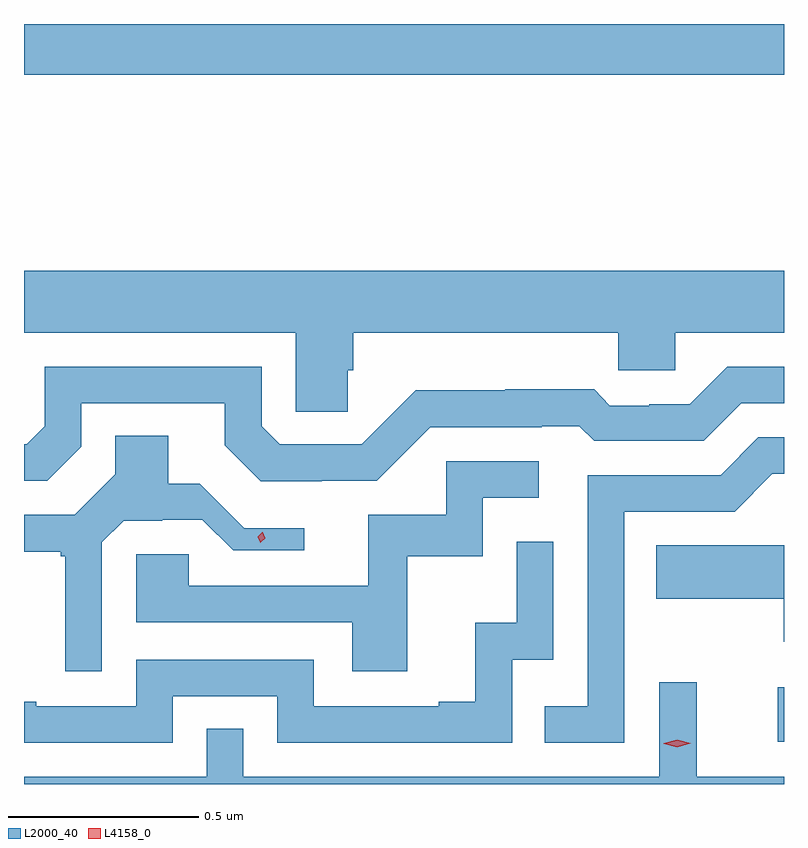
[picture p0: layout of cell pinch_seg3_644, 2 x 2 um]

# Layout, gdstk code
import gdstk
lib = gdstk.Library(unit=1e-6, precision=1e-09)
def R(c, l, rs):  # rectangles x0, y0, x1, y1
    for r in rs: c.add(gdstk.rectangle(r[:2], r[2:], *l))
def P(c, l, *ps):  # polygons
    for p in ps: c.add(gdstk.Polygon(p, *l))
L2000_40 = (2000, 40)
L4158_0 = (4158, 0)

pinch_seg3_644 = lib.new_cell('pinch_seg3_644')
R(pinch_seg3_644, L2000_40, [(1049.864,673.2,1049.881,673.344), (1047.881,674.956,1049.881,675.089)])
P(pinch_seg3_644, L2000_40, [(1048.733,674.178),(1048.748,674.178),(1048.748,674.276),(1049.445,674.276),(1049.445,674.178),(1049.595,674.178),(1049.595,674.276),(1049.881,674.276),(1049.881,674.44),(1047.881,674.44),(1047.881,674.276),(1048.596,674.276),(1048.596,674.068),(1048.733,674.068)],
  [(1048.665,673.887),(1048.809,673.887),(1048.95,674.028),(1049.243,674.028),(1049.243,674.031),(1049.342,674.031),(1049.381,673.992),(1049.67,673.992),(1049.769,674.091),(1049.881,674.091),(1049.881,674.187),(1049.732,674.187),(1049.633,674.088),(1049.526,674.088),(1049.526,674.085),(1049.423,674.085),(1049.381,674.128),(1049.148,674.128),(1049.148,674.125),(1048.912,674.125),(1048.77,673.983),(1048.554,673.983),(1048.506,674.031),(1048.506,674.187),(1047.936,674.187),(1047.936,674.031),(1047.888,673.983),(1047.881,673.983),(1047.881,673.887),(1047.942,673.887),(1048.032,673.977),(1048.032,674.091),(1048.409,674.091),(1048.409,673.981),(1048.504,673.886),(1048.665,673.886)],
  [(1048.086,673.725),(1048.143,673.782),(1048.245,673.782),(1048.245,673.785),(1048.35,673.785),(1048.431,673.704),(1048.618,673.704),(1048.618,673.762),(1048.461,673.762),(1048.344,673.879),(1048.261,673.879),(1048.261,674.006),(1048.121,674.006),(1048.121,673.904),(1048.014,673.797),(1047.881,673.797),(1047.881,673.7),(1047.978,673.7),(1047.978,673.689),(1047.989,673.689),(1047.989,673.386),(1048.086,673.386)],
  [(1049.46,673.806),(1049.751,673.806),(1049.85,673.905),(1049.881,673.905),(1049.881,674.001),(1049.813,674.001),(1049.714,673.902),(1049.364,673.902),(1049.364,673.293),(1049.251,673.293),(1049.251,673.197),(1049.46,673.197)],
  [(1048.889,673.689),(1049.088,673.689),(1049.088,673.842),(1049.236,673.842),(1049.236,673.938),(1048.992,673.938),(1048.992,673.797),(1048.787,673.797),(1048.787,673.611),(1048.314,673.611),(1048.314,673.694),(1048.176,673.694),(1048.176,673.515),(1048.745,673.515),(1048.745,673.386),(1048.889,673.386)],
  [(1048.272,673.32),(1048.548,673.32),(1048.548,673.197),(1049.166,673.197),(1049.166,673.416),(1049.274,673.416),(1049.274,673.726),(1049.178,673.726),(1049.178,673.514),(1049.069,673.514),(1049.069,673.306),(1048.973,673.306),(1048.973,673.293),(1048.644,673.293),(1048.644,673.416),(1048.176,673.416),(1048.176,673.293),(1047.913,673.293),(1047.913,673.306),(1047.881,673.306),(1047.881,673.197),(1048.272,673.197)],
  [(1049.881,673.717),(1049.545,673.717),(1049.545,673.577),(1049.88,673.577),(1049.88,673.463),(1049.881,673.463)],
  [(1049.881,673.108),(1049.651,673.108),(1049.651,673.357),(1049.553,673.357),(1049.553,673.108),(1048.458,673.108),(1048.458,673.235),(1048.362,673.235),(1048.362,673.108),(1047.881,673.108),(1047.881,673.089),(1049.881,673.089)])
P(pinch_seg3_644, L4158_0, [(1049.6,673.186),(1049.565,673.195),(1049.565,673.195),(1049.565,673.196),(1049.6,673.206),(1049.636,673.196),(1049.636,673.196),(1049.636,673.196)],
  [(1048.503,673.724),(1048.503,673.725),(1048.496,673.74),(1048.508,673.751),(1048.508,673.751),(1048.509,673.751),(1048.516,673.736),(1048.504,673.725)])

lib.write_gds('pinch_seg3_644.gds')
